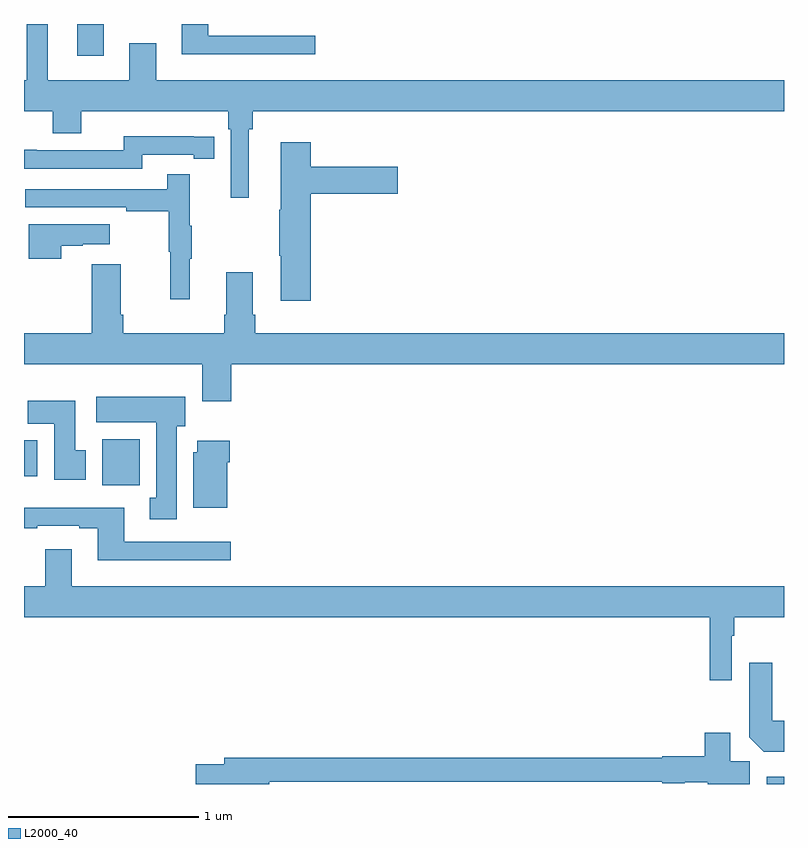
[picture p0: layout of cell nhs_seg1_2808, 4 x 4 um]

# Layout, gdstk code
import gdstk
lib = gdstk.Library(unit=1e-6, precision=1e-09)
def R(c, l, rs):  # rectangles x0, y0, x1, y1
    for r in rs: c.add(gdstk.rectangle(r[:2], r[2:], *l))
def P(c, l, *ps):  # polygons
    for p in ps: c.add(gdstk.Polygon(p, *l))
L2000_40 = (2000, 40)

nhs_seg1_2808 = lib.new_cell('nhs_seg1_2808')
R(nhs_seg1_2808, L2000_40, [(266.909,540.199,267,540.238), (263.411,541.772,263.608,542.014), (263,541.82,263.071,542.008), (263.279,544.032,263.419,544.199)])
P(nhs_seg1_2808, L2000_40, [(264.532,544.137),(263.971,544.137),(263.971,544.199),(263.831,544.199),(263.831,544.04),(264.532,544.04)],
  [(264.184,543.644),(264.203,543.644),(264.203,543.74),(267,543.74),(267,543.904),(263.695,543.904),(263.695,544.099),(263.555,544.099),(263.555,543.904),(263.125,543.904),(263.125,544.199),(263.015,544.199),(263.015,543.904),(263,543.904),(263,543.74),(263.15,543.74),(263.15,543.623),(263.302,543.623),(263.302,543.74),(264.074,543.74),(264.074,543.644),(264.087,543.644),(264.087,543.285),(264.184,543.285)],
  [(263.622,543.51),(263.894,543.51),(263.894,543.49),(264.002,543.49),(264.002,543.606),(263.894,543.606),(263.894,543.607),(263.526,543.607),(263.526,543.534),(263.066,543.534),(263.066,543.536),(263,543.536),(263,543.438),(263.622,543.438)],
  [(264.509,543.305),(264.967,543.305),(264.967,543.447),(264.509,543.447),(264.509,543.577),(264.35,543.577),(264.35,543.221),(264.343,543.221),(264.343,542.98),(264.35,542.98),(264.35,542.742),(264.509,542.742)],
  [(263.873,542.963),(263.884,542.963),(263.884,543.137),(263.873,543.137),(263.873,543.409),(263.755,543.409),(263.755,543.33),(263.007,543.33),(263.007,543.234),(263.539,543.234),(263.539,543.214),(263.763,543.214),(263.763,543),(263.77,543),(263.77,542.751),(263.873,542.751)],
  [(263.195,543.031),(263.309,543.031),(263.309,543.041),(263.452,543.041),(263.452,543.145),(263.024,543.145),(263.024,542.964),(263.195,542.964)],
  [(264.092,542.408),(267,542.408),(267,542.572),(264.218,542.572),(264.218,542.668),(264.205,542.668),(264.205,542.893),(264.065,542.893),(264.065,542.668),(264.053,542.668),(264.053,542.572),(263.522,542.572),(263.522,542.668),(263.509,542.668),(263.509,542.935),(263.357,542.935),(263.357,542.572),(263,542.572),(263,542.408),(263.939,542.408),(263.939,542.214),(264.092,542.214)],
  [(263.803,542.082),(263.848,542.082),(263.848,542.236),(263.379,542.236),(263.379,542.102),(263.696,542.102),(263.696,541.706),(263.663,541.706),(263.663,541.593),(263.803,541.593)],
  [(263.326,541.956),(263.269,541.956),(263.269,542.215),(263.02,542.215),(263.02,542.096),(263.159,542.096),(263.159,541.8),(263.326,541.8)],
  [(264.07,541.892),(264.083,541.892),(264.083,542.005),(263.912,542.005),(263.912,541.944),(263.891,541.944),(263.891,541.652),(264.07,541.652)],
  [(264.088,541.473),(263.527,541.473),(263.527,541.654),(263,541.654),(263,541.545),(263.071,541.545),(263.071,541.557),(263.291,541.557),(263.291,541.545),(263.387,541.545),(263.387,541.376),(264.088,541.376)],
  [(266.724,540.98),(266.737,540.98),(266.737,541.076),(267,541.076),(267,541.24),(263.251,541.24),(263.251,541.435),(263.111,541.435),(263.111,541.24),(263,541.24),(263,541.076),(266.608,541.076),(266.608,540.744),(266.724,540.744)],
  [(267,540.532),(266.938,540.532),(266.938,540.838),(266.816,540.838),(266.816,540.446),(266.894,540.368),(267,540.368)],
  [(264.292,540.21),(266.358,540.21),(266.358,540.202),(266.478,540.202),(266.478,540.209),(266.598,540.209),(266.598,540.199),(266.821,540.199),(266.821,540.32),(266.716,540.32),(266.716,540.469),(266.582,540.469),(266.582,540.346),(266.358,540.346),(266.358,540.338),(264.053,540.338),(264.053,540.302),(263.904,540.302),(263.904,540.199),(264.292,540.199)])

lib.write_gds('nhs_seg1_2808.gds')
